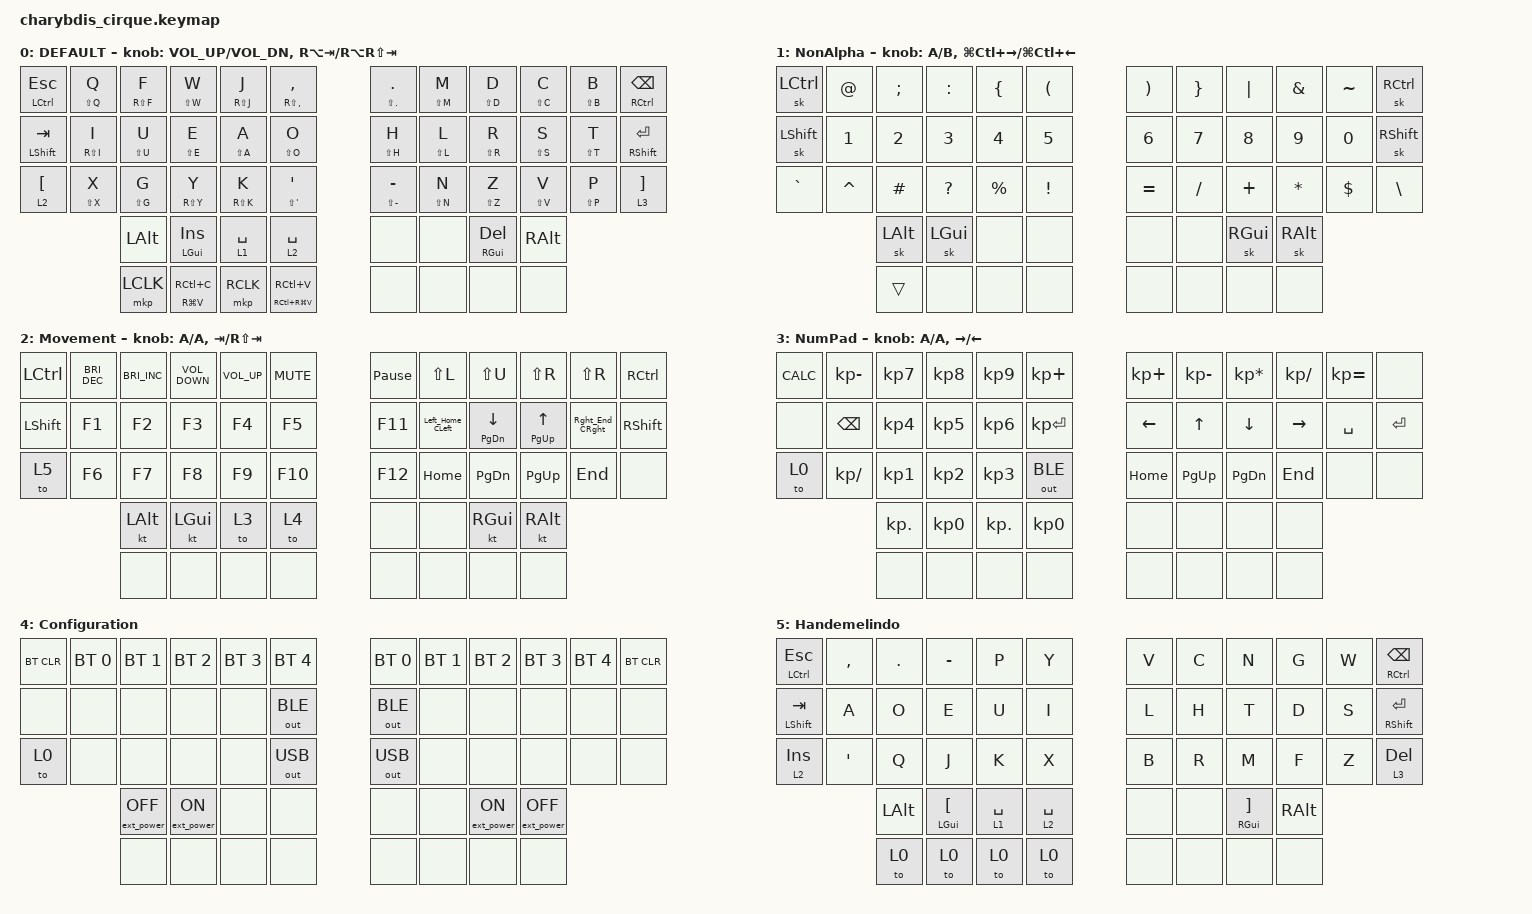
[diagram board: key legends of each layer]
#include <behaviors.dtsi>
#include <dt-bindings/zmk/mouse.h>
#include <dt-bindings/zmk/bt.h>
#include <dt-bindings/zmk/ext_power.h>
#include <dt-bindings/zmk/keys.h>
#include <dt-bindings/zmk/keys.h>
#include <dt-bindings/zmk/outputs.h>

// mouse move settings

#define MMV_U MOVE_VERT(-650)
#define MMV_D MOVE_VERT(650)
#define MMV_L MOVE_HOR(-650)
#define MMV_R MOVE_HOR(650)

&mmv {
    time-to-max-speed-ms = <500>;
    acceleration-exponent = <1>;
};

// mouse wheel settings

#define MWH_U SCROLL_VERT(15)
#define MWH_D SCROLL_VERT(-15)
#define MWH_L SCROLL_HOR(-15)
#define MWH_R SCROLL_HOR(15)

&mwh {
    time-to-max-speed-ms = <2000>;
    acceleration-exponent = <0>;
};

#define DEFAULT 0
#define NUMBER  1
#define SYMBOL  2
#define HOTKEY  3
#define MSE     4

#define AS(keycode) &as LS(keycode) keycode

/ {
    behaviors {
    };

    behaviors {
        as: auto_shift {
            compatible = "zmk,behavior-hold-tap";
            label = "AUTO_SHIFT";
            #binding-cells = <2>;
            tapping-term-ms = <150>;
            quick-tap-ms = <50>;
            flavor = "tap-preferred";
            bindings = <&kp>, <&kp>;
        };
        Left_Home_CLeft: Left_Home_CLeft {
            compatible = "zmk,behavior-tap-dance";
            label = "LEFT_HOME_CLEFT";
            #binding-cells = <0>;
            tapping-term-ms = <150>;
            bindings = <&as HOME LEFT>, <&kp LC(LEFT)>;
        };
        Rght_End_CRght: Rght_End_CRght {
            compatible = "zmk,behavior-tap-dance";
            label = "RGHT_END_CRGHT";
            #binding-cells = <0>;
            tapping-term-ms = <150>;
            bindings = <&as END RIGHT>, <&kp LC(RIGHT)>;
        };
    };

    macros {
    };

    combos {
        compatible = "zmk,combos";

        rc_r {
            timeout-ms = <50>;
            key-positions = <21 22>;
            bindings = <&mkp RCLK>;
        };

        lc_l {
            timeout-ms = <50>;
            key-positions = <15 16>;
            bindings = <&mkp LCLK>;
        };

        rc_l {
            bindings = <&mkp RCLK>;
            key-positions = <13 14>;
            timeout-ms = <50>;
        };

        lc_r {
            bindings = <&mkp LCLK>;
            key-positions = <19 20>;
            timeout-ms = <50>;
        };

        mc_l {
            bindings = <&mkp MCLK>;
            key-positions = <14 15>;
            timeout-ms = <50>;
        };

        mc_r {
            bindings = <&mkp MCLK>;
            key-positions = <20 21>;
            timeout-ms = <50>;
        };
    };

    keymap {
        compatible = "zmk,keymap";

        default_layer {
            label = "DEFAULT";
            bindings = <
&mt LCTRL ESCAPE    &as LS(Q) Q  &as RS(F) F   &as LS(W) W      &as RS(J) J  &as RS(COMMA) COMMA                &as LS(PERIOD) PERIOD  &as LS(M) M  &as LS(D) D           &as LS(C) C    &as LS(B) B  &mt RCTRL BACKSPACE
&mt LEFT_SHIFT TAB  &as RS(I) I  &as LS(U) U   &as LS(E) E      &as LS(A) A  &as LS(O) O                        &as LS(H) H            &as LS(L) L  &as LS(R) R           &as LS(S) S    &as LS(T) T  &mt RIGHT_SHIFT ENTER
&lt 2 LEFT_BRACKET  &as LS(X) X  &as LS(G) G   &as RS(Y) Y      &as RS(K) K  &as LS(SINGLE_QUOTE) SINGLE_QUOTE  &as LS(MINUS) MINUS    &as LS(N) N  &as LS(Z) Z           &as LS(V) V    &as LS(P) P  &lt 3 RIGHT_BRACKET
                                 &kp LEFT_ALT  &mt LGUI INSERT  &lt 1 SPACE  &lt 2 SPACE                        &none                  &none        &mt RIGHT_GUI DELETE  &kp RIGHT_ALT
                                 &mkp LCLK     &as RG(V) RC(C)  &mkp RCLK    &as RC(RG(V)) RC(V)                &none                  &none        &none                 &none
            >;

            sensor-bindings =
                <&inc_dec_kp C_VOL_UP C_VOL_DN>,
                <&inc_dec_kp RA(TAB) RA(RS(TAB))>;

            trackball-bindings = <&tmv>;
        };

        NonAlpha {
            label = "NonAlpha";
            bindings = <
&sk LCTRL       &kp AT_SIGN  &kp SEMICOLON  &kp COLON     &kp LEFT_BRACE  &kp LEFT_PARENTHESIS  &kp RIGHT_PARENTHESIS  &kp RIGHT_BRACE  &kp PIPE       &kp AMPERSAND  &kp TILDE   &sk RCTRL
&sk LEFT_SHIFT  &kp N1       &kp N2         &kp N3        &kp N4          &kp N5                &kp N6                 &kp N7           &kp N8         &kp N9         &kp N0      &sk RIGHT_SHIFT
&kp GRAVE       &kp CARET    &kp HASH       &kp QUESTION  &kp PERCENT     &kp EXCLAMATION       &kp EQUAL              &kp SLASH        &kp PLUS       &kp ASTERISK   &kp DOLLAR  &kp BACKSLASH
                             &sk LEFT_ALT   &sk LEFT_GUI  &none           &none                 &none                  &none            &sk RIGHT_GUI  &sk RIGHT_ALT
                             &trans         &none         &none           &none                 &none                  &none            &none          &none
            >;

            trackball-bindings = <&tmv_fine>;
            sensor-bindings =
                <&inc_dec_kp A B>,
                <&inc_dec_kp LG(LC(RIGHT)) LG(LC(LEFT))>;
        };

        Movement {
            label = "Movement";
            bindings = <
&kp LCTRL   &kp C_BRIGHTNESS_DEC  &kp C_BRIGHTNESS_INC  &kp C_VOLUME_DOWN  &kp C_VOLUME_UP  &kp C_MUTE  &kp PAUSE_BREAK  &kp LS(L)         &kp LS(U)           &kp LS(R)       &kp LS(R)        &kp RCTRL
&kp LSHIFT  &kp F1                &kp F2                &kp F3             &kp F4           &kp F5      &kp F11          &Left_Home_CLeft  &as PAGE_DOWN DOWN  &as PAGE_UP UP  &Rght_End_CRght  &kp RSHIFT
&to 5       &kp F6                &kp F7                &kp F8             &kp F9           &kp F10     &kp F12          &kp HOME          &kp PAGE_DOWN       &kp PAGE_UP     &kp END          &none
                                  &kt LALT              &kt LGUI           &to 3            &to 4       &none            &none             &kt RGUI            &kt RALT
                                  &none                 &none              &none            &none       &none            &none             &none               &none
            >;

            trackball-bindings = <&tsl>;
            sensor-bindings = <&inc_dec_kp A A>, <&inc_dec_kp TAB RS(TAB)>;
        };

        NumPad {
            label = "NumPad";
            bindings = <
&kp K_CALC  &kp KP_SUBTRACT  &kp KP_N7   &kp KP_N8  &kp KP_N9   &kp KP_PLUS   &kp KP_PLUS  &kp KP_MINUS  &kp KP_MULTIPLY  &kp KP_DIVIDE  &kp KP_EQUAL  &none
&none       &kp BACKSPACE    &kp KP_N4   &kp KP_N5  &kp KP_N6   &kp KP_ENTER  &kp LEFT     &kp UP        &kp DOWN         &kp RIGHT      &kp SPACE     &kp ENTER
&to 0       &kp KP_DIVIDE    &kp KP_N1   &kp KP_N2  &kp KP_N3   &out OUT_BLE  &kp HOME     &kp PAGE_UP   &kp PAGE_DOWN    &kp END        &none         &none
                             &kp KP_DOT  &kp KP_N0  &kp KP_DOT  &kp KP_N0     &none        &none         &none            &none
                             &none       &none      &none       &none         &none        &none         &none            &none
            >;

            trackball-bindings = <&tmv_x>;
            sensor-bindings = <&inc_dec_kp A A>, <&inc_dec_kp RIGHT LEFT>;
        };

        Configuration {
            bindings = <
&bt BT_CLR  &bt BT_SEL 0  &bt BT_SEL 1       &bt BT_SEL 2      &bt BT_SEL 3  &bt BT_SEL 4  &bt BT_SEL 0  &bt BT_SEL 1  &bt BT_SEL 2      &bt BT_SEL 3       &bt BT_SEL 4  &bt BT_CLR
&none       &none         &none              &none             &none         &out OUT_BLE  &out OUT_BLE  &none         &none             &none              &none         &none
&to 0       &none         &none              &none             &none         &out OUT_USB  &out OUT_USB  &none         &none             &none              &none         &none
                          &ext_power EP_OFF  &ext_power EP_ON  &none         &none         &none         &none         &ext_power EP_ON  &ext_power EP_OFF
                          &none              &none             &none         &none         &none         &none         &none             &none
            >;

            label = "Configuration";
        };

        Handemelindo {
            bindings = <
&mt LCTRL ESCAPE  &kp COMMA         &kp PERIOD    &kp MINUS              &kp P        &kp Y        &kp V  &kp C  &kp N                   &kp G     &kp W  &mt RCTRL BACKSPACE
&mt LSHFT TAB     &kp A             &kp O         &kp E                  &kp U        &kp I        &kp L  &kp H  &kp T                   &kp D     &kp S  &mt RSHIFT ENTER
&lt 2 INSERT      &kp SINGLE_QUOTE  &kp Q         &kp J                  &kp K        &kp X        &kp B  &kp R  &kp M                   &kp F     &kp Z  &lt 3 DELETE
                                    &kp LEFT_ALT  &mt LGUI LEFT_BRACKET  &lt 1 SPACE  &lt 2 SPACE  &none  &none  &mt RGUI RIGHT_BRACKET  &kp RALT
                                    &to 0         &to 0                  &to 0        &to 0        &none  &none  &none                   &none
            >;

            label = "Handemelindo";
        };
    };
};
